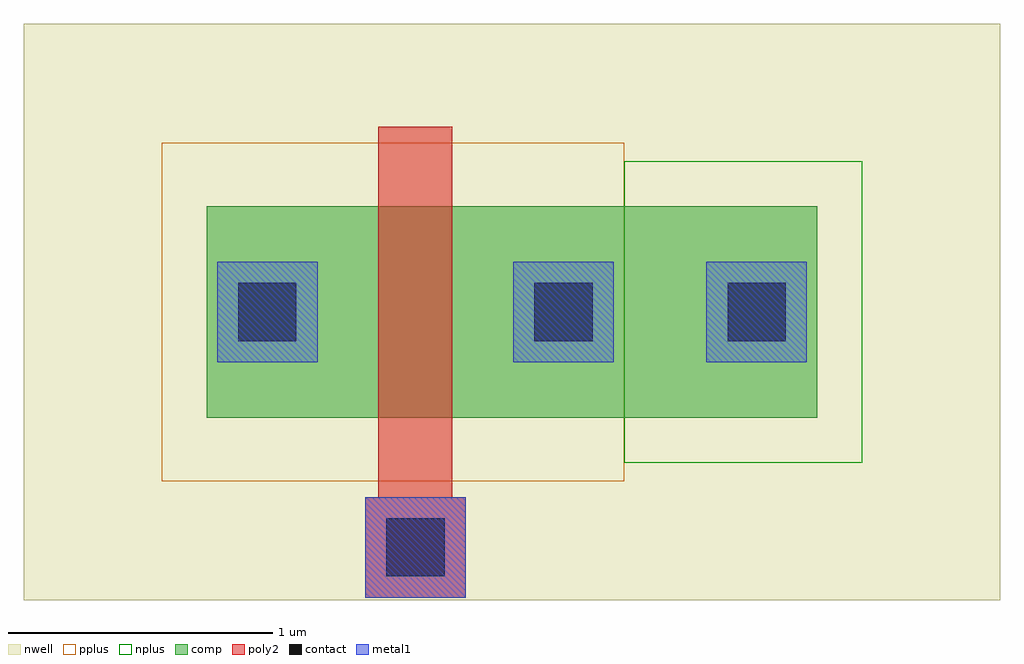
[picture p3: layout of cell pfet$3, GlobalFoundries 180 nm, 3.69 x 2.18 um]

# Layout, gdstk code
import gdstk
lib = gdstk.Library(unit=1e-6, precision=5e-09)
def R(c, l, rs):  # rectangles x0, y0, x1, y1
    for r in rs: c.add(gdstk.rectangle(r[:2], r[2:], *l))
nwell = (21, 0)
comp = (22, 0)
poly2 = (30, 0)
pplus = (31, 0)
nplus = (32, 0)
contact = (33, 0)
metal1 = (34, 0)

pfet_3 = lib.new_cell('pfet$3')
R(pfet_3, nwell, [(-1.15,-0.69,2.54,1.49)])
R(pfet_3, comp, [(-0.46,0,0,0.8), (0,0,0.66,0.8), (0.66,0,1.12,0.8), (1.12,0,1.85,0.8)])
R(pfet_3, poly2, [(0.14,-0.68,0.52,-0.3), (0.19,-0.3,0.47,1.1)])
R(pfet_3, pplus, [(-0.63,-0.24,1.12,1.04)])
R(pfet_3, nplus, [(1.12,-0.17,2.02,0.97)])
R(pfet_3, contact, [(0.22,-0.6,0.44,-0.38), (-0.34,0.29,-0.12,0.51), (0.78,0.29,1,0.51), (1.51,0.29,1.73,0.51)])
R(pfet_3, metal1, [(0.14,-0.68,0.52,-0.3), (-0.42,0.21,-0.04,0.59), (0.7,0.21,1.08,0.59), (1.43,0.21,1.81,0.59)])

lib.write_gds('pfet_3.gds')
